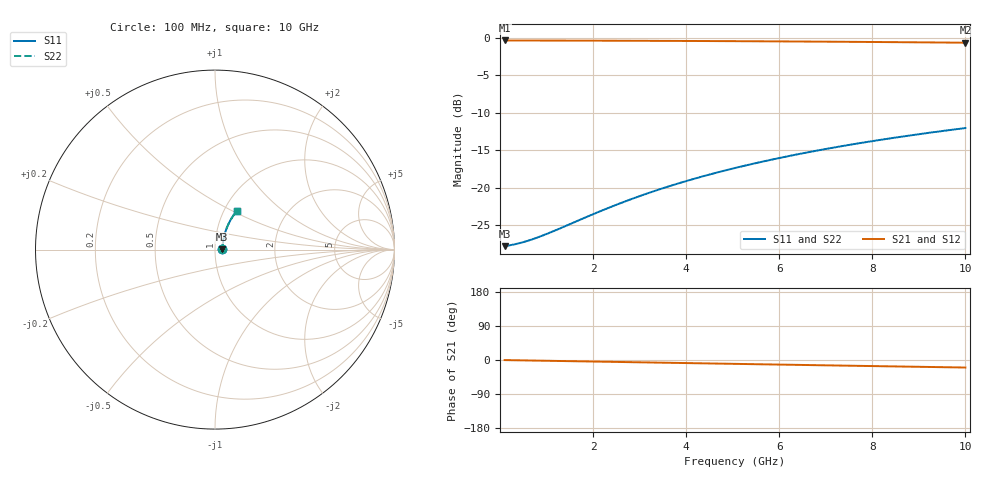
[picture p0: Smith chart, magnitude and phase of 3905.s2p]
# Hz S RI R 50.00
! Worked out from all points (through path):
!   100 points, 100 MHz to 10 GHz, reference 50 ohm
!   highest |S21| = -0.36 dB at 100 MHz (marker M1); lowest = -0.7 dB at 10 GHz (marker M2)
!   group delay of S21, straight-line fit = 5.53 ps
!   lowest |S11| = -27.8 dB at 100 MHz (marker M3), VSWR 1.08, Z = 54.2 + j0.264 ohm
!   |S11| at or under -10 dB: start of sweep to end of sweep
!   |S22| runs from -27.8 to -12.1 dB; largest |S21 - S12| = 0
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1e8  0.0406 0.00243  0.9594 -0.00341  0.9594 -0.00341  0.0406 0.00243
3e8  0.0411 0.00728  0.9589 -0.0102  0.9589 -0.0102  0.0411 0.00728
4e8  0.0413 0.0097  0.9586 -0.0136  0.9586 -0.0136  0.0413 0.0097
6e8  0.0418 0.0145  0.9582 -0.0204  0.9582 -0.0204  0.0418 0.0145
8e8  0.0422 0.0194  0.9578 -0.0272  0.9578 -0.0272  0.0422 0.0194
1.2e9  0.0432 0.029  0.9567 -0.0407  0.9567 -0.0407  0.0432 0.029
1.8e9  0.0451 0.0434  0.9548 -0.061  0.9548 -0.061  0.0451 0.0434
2.2e9  0.0466 0.0529  0.9531 -0.0744  0.9531 -0.0744  0.0466 0.0529
2.6e9  0.0484 0.0624  0.9512 -0.0878  0.9512 -0.0878  0.0484 0.0624
3e9  0.0505 0.0718  0.9491 -0.1011  0.9491 -0.1011  0.0505 0.0718
3.4e9  0.0527 0.0811  0.9467 -0.1143  0.9467 -0.1143  0.0527 0.0811
3.8e9  0.0553 0.0904  0.944 -0.1275  0.944 -0.1275  0.0553 0.0904
4.2e9  0.0581 0.0995  0.941 -0.1406  0.941 -0.1406  0.0581 0.0995
4.6e9  0.0611 0.1086  0.9378 -0.1535  0.9378 -0.1535  0.0611 0.1086
5.1e9  0.0652 0.1197  0.9334 -0.1696  0.9334 -0.1696  0.0652 0.1197
5.5e9  0.0688 0.1285  0.9297 -0.1823  0.9297 -0.1823  0.0688 0.1285
5.9e9  0.0726 0.1372  0.9256 -0.1949  0.9256 -0.1949  0.0726 0.1372
6.7e9  0.0809 0.1541  0.9169 -0.2196  0.9169 -0.2196  0.0809 0.1541
7.5e9  0.09 0.1704  0.9072 -0.2438  0.9072 -0.2438  0.09 0.1704
8.4e9  0.1012 0.188  0.8953 -0.2702  0.8953 -0.2702  0.1012 0.188
9.2e9  0.112 0.2029  0.8838 -0.293  0.8838 -0.293  0.112 0.2029
1e10  0.1234 0.2171  0.8716 -0.3151  0.8716 -0.3151  0.1234 0.2171
